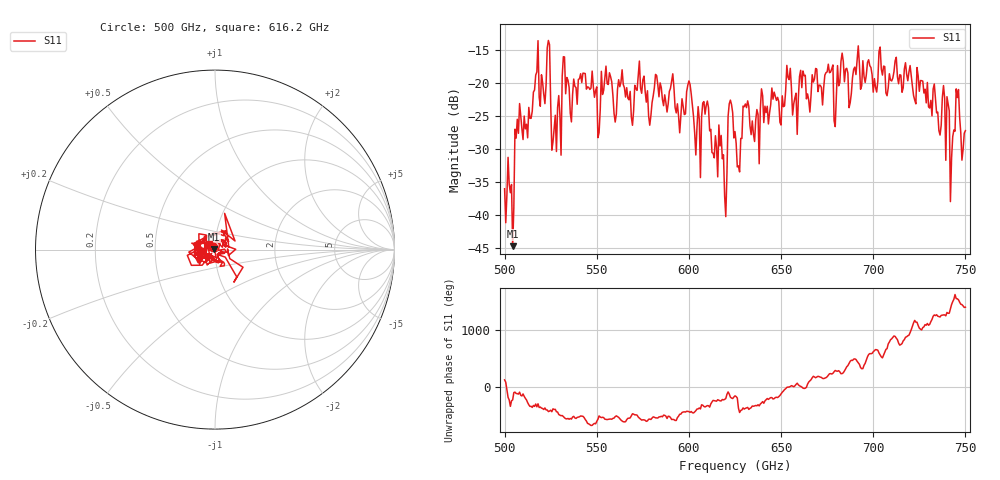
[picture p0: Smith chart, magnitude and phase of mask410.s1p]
!Created with skrf (http://scikit-rf.org).
# GHz S MA R 50.0
!freq magS11 angS11
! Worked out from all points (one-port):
!   401 points, 500 GHz to 750 GHz, reference 50 ohm
!   lowest |S11| = -44.7 dB at 504.4 GHz (marker M1), VSWR 1.01, Z = 49.5 + j0.34 ohm
!   |S11| at or under -10 dB: start of sweep to end of sweep
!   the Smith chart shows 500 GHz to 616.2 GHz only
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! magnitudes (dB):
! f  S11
! 500 GHz  -36.0
! 504.4 GHz  -44.7
! 506.9 GHz  -25.5
! 513.8 GHz  -25.3
! 516.9 GHz  -18.8
! 523.8 GHz  -13.6
! 526.9 GHz  -26.8
! 531.2 GHz  -19.0
! 542.5 GHz  -18.5
! 550.6 GHz  -28.3
! 562.5 GHz  -20.6
! 579.4 GHz  -24.9
! 590.6 GHz  -19.7
! 593.8 GHz  -23.1
! 600 GHz  -19.7
! 605 GHz  -23.6
! 609.4 GHz  -23.4
! 619.4 GHz  -37.1
! 622.5 GHz  -22.6
! 625 GHz  -27.3
! 656.2 GHz  -24.8
! 687.5 GHz  -23.0
! 691.2 GHz  -16.5
! 718.8 GHz  -19.7
! 739.4 GHz  -31.7
! 743.1 GHz  -28.1
! 745.6 GHz  -22.2
! 750 GHz  -27.2
